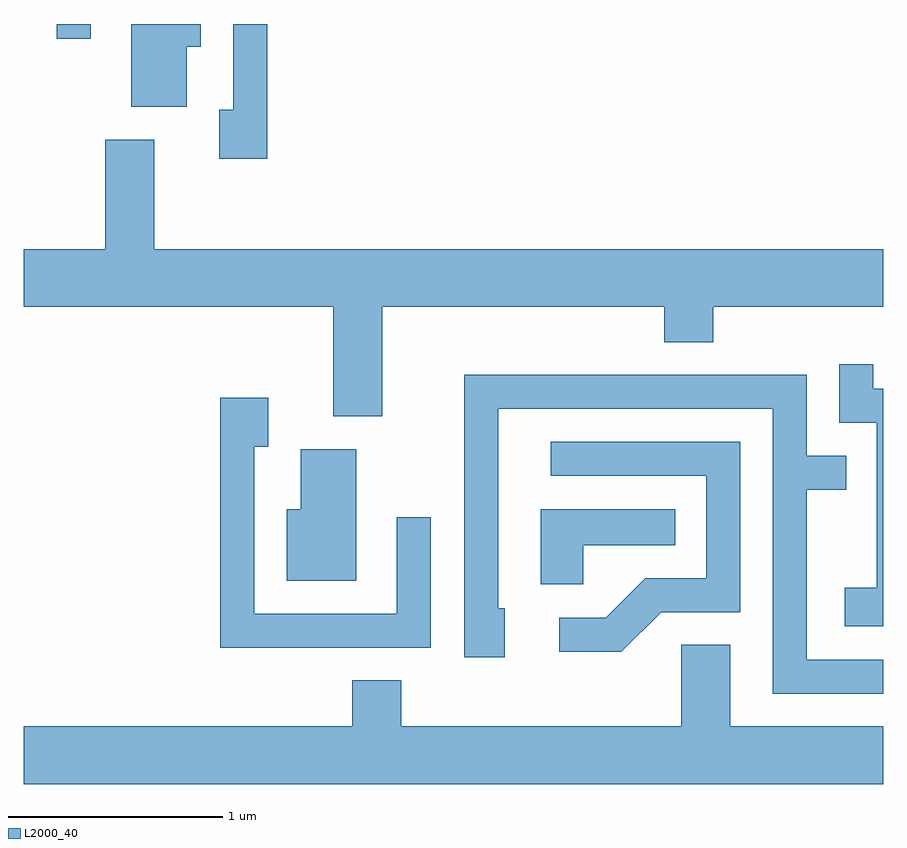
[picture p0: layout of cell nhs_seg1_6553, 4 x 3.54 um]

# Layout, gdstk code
import gdstk
lib = gdstk.Library(unit=1e-6, precision=1e-09)
def R(c, l, rs):  # rectangles x0, y0, x1, y1
    for r in rs: c.add(gdstk.rectangle(r[:2], r[2:], *l))
def P(c, l, *ps):  # polygons
    for p in ps: c.add(gdstk.Polygon(p, *l))
L2000_40 = (2000, 40)

nhs_seg1_6553 = lib.new_cell('nhs_seg1_6553')
R(nhs_seg1_6553, L2000_40, [(381.766,969.643,381.924,969.712)])
P(nhs_seg1_6553, L2000_40, [(382.744,969.712),(382.586,969.712),(382.586,969.314),(382.521,969.314),(382.521,969.086),(382.744,969.086)],
  [(382.369,969.606),(382.434,969.606),(382.434,969.712),(382.111,969.712),(382.111,969.326),(382.369,969.326)],
  [(383.279,968.396),(384.591,968.396),(384.591,968.231),(384.819,968.231),(384.819,968.396),(385.611,968.396),(385.611,968.664),(382.219,968.664),(382.219,969.174),(381.991,969.174),(381.991,968.664),(381.611,968.664),(381.611,968.396),(383.051,968.396),(383.051,967.886),(383.279,967.886)],
  [(385.611,968.014),(385.564,968.014),(385.564,968.128),(385.406,968.128),(385.406,967.856),(385.581,967.856),(385.581,967.089),(385.431,967.089),(385.431,966.911),(385.611,966.911)],
  [(385.611,966.754),(385.254,966.754),(385.254,967.546),(385.438,967.546),(385.438,967.704),(385.254,967.704),(385.254,968.079),(383.661,968.079),(383.661,966.766),(383.849,966.766),(383.849,966.994),(383.819,966.994),(383.819,967.921),(385.096,967.921),(385.096,966.596),(385.611,966.596)],
  [(383.504,967.418),(383.346,967.418),(383.346,966.969),(382.684,966.969),(382.684,967.746),(382.749,967.746),(382.749,967.974),(382.526,967.974),(382.526,966.811),(383.504,966.811)],
  [(384.577,966.976),(384.944,966.976),(384.944,967.769),(384.063,967.769),(384.063,967.611),(384.786,967.611),(384.786,967.134),(384.504,967.134),(384.319,966.949),(384.103,966.949),(384.103,966.791),(384.392,966.791)],
  [(383.159,967.734),(382.901,967.734),(382.901,967.454),(382.836,967.454),(382.836,967.121),(383.159,967.121)],
  [(384.214,967.286),(384.643,967.286),(384.643,967.454),(384.016,967.454),(384.016,967.106),(384.214,967.106)],
  [(385.611,966.444),(384.899,966.444),(384.899,966.824),(384.671,966.824),(384.671,966.444),(383.369,966.444),(383.369,966.659),(383.141,966.659),(383.141,966.444),(381.611,966.444),(381.611,966.176),(385.611,966.176)])

lib.write_gds('nhs_seg1_6553.gds')
